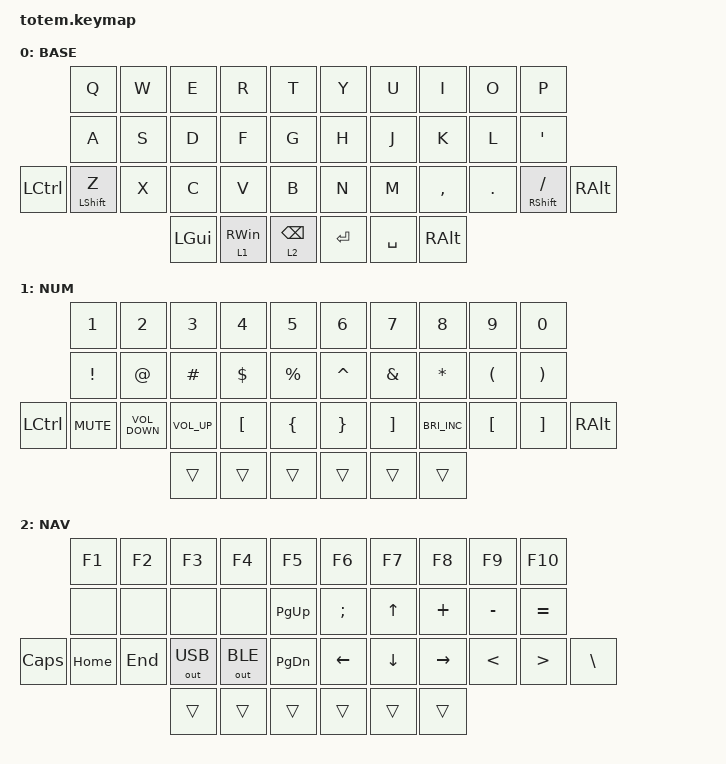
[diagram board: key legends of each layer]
//
//                                                        ▀▀▀▀▀     ▀▀▀▀▀          ▀▀█▀▀
//                                                        ▄▀▀▀▄  ▄  ▄▀▀▀▄  ▄  ▄▀▀▀▄  █  ▄▀▀▀▄
//                                                        █   █  █  █   █  █  █   █  █  █   █
//                                                         ▀▀▀   █   ▀▀▀   █   ▀▀▀   ▀   ▀▀▀
//                                                               █      ▄▄▄█▄▄▄    █   █  
//                                                               ▀      █  █  █     █▄█
//                                                             ▀▀▀▀▀    █  █  █      ▀
//                                                                      ▀  ▀  ▀
//
// ▄▄▄▄▄▄▄▄▄▄▄▄▄▄▄▄▄▄▄▄▄▄▄▄▄▄▄▄▄▄▄▄▄▄▄▄▄▄▄▄▄▄▄▄▄▄▄▄▄▄▄▄▄▄▄▄▄▄▄▄▄▄▄▄▄▄▄▄▄▄▄▄▄▄▄▄▄▄▄▄▄▄▄▄▄▄▄▄▄▄▄▄▄▄▄▄▄▄▄▄▄▄▄▄▄▄▄▄▄▄▄▄▄▄▄▄▄▄▄▄▄▄▄▄▄▄▄▄▄▄▄▄▄▄▄▄▄▄▄▄▄▄▄▄▄▄▄▄▄

#include <behaviors.dtsi>
#include <dt-bindings/zmk/keys.h>
#include <dt-bindings/zmk/outputs.h>

#define BASE 0
#define NAV  1
#define SYM  2
#define ADJ  3
#define TVP1 4
#define TVP2 5

&mt {
    quick-tap-ms = <100>;
    global-quick-tap;
    flavor = "tap-preferred";
    tapping-term-ms = <170>;
};

/ {
    combos {
        compatible = "zmk,combos";

        combo_esc {
            timeout-ms = <50>;
            key-positions = <0 1>;
            bindings = <&kp ESC>;
        };

        combo_tab {
            bindings = <&kp TAB>;
            key-positions = <3 2>;
        };

        combo_delete {
            bindings = <&kp DELETE>;
            key-positions = <9 8>;
        };
    };

    macros {
        gif: gif {
            label = "giphy";
            compatible = "zmk,behavior-macro";
            #binding-cells = <0>;
            bindings =
                <&macro_press>,
                <&kp LSHFT>,
                <&macro_tap>,
                <&kp N2>,
                <&macro_release>,
                <&kp LSHFT>,
                <&macro_tap>,
                <&kp G &kp I &kp F>;
        };
    };

    keymap {
        compatible = "zmk,keymap";

        // ▄▄▄▄▄▄▄▄▄▄▄▄▄▄▄▄▄▄▄▄▄▄▄▄▄▄▄▄▄▄▄▄▄▄▄▄▄▄▄▄▄▄▄▄▄▄▄▄▄▄▄▄▄▄▄▄▄▄▄▄▄▄▄▄▄▄▄▄▄▄▄▄▄▄▄▄▄▄▄▄▄▄▄▄▄▄▄▄▄▄▄▄▄▄▄▄▄▄▄▄▄▄▄▄▄▄▄▄▄▄▄▄▄▄▄▄▄▄▄▄▄▄▄▄▄▄▄▄▄▄▄▄▄▄▄▄▄▄▄▄▄▄▄▄▄▄▄▄▄

        base_layer {
            // ┏━━━━━━━━━━━━━━━━━━━━━━━━━━━━━━━━━━━━━━━┓

            label = "BASE";

            // ┗━━━━━━━━━━━━━━━━━━━━━━━━━━━━━━━━━━━━━━━┛
            //             ┏━━━━━━━━━━━┳━━━━━━━━━━━┳━━━━━━━━━━━┳━━━━━━━━━━━┳━━━━━━━━━━━┓   ┏━━━━━━━━━━━┳━━━━━━━━━━━┳━━━━━━━━━━━┳━━━━━━━━━━━┳━━━━━━━━━━━┓
            //             ┃     Q     ┃     W     ┃     F     ┃     P     ┃     G     ┃   ┃     J     ┃     L     ┃     U     ┃     Y     ┃     ;     ┃
            //             ┣━━━━━━━━━━━╋━━━━━━━━━━━╋━━━━━━━━━━━╋━━━━━━━━━━━╋━━━━━━━━━━━┫   ┣━━━━━━━━━━━╋━━━━━━━━━━━╋━━━━━━━━━━━╋━━━━━━━━━━━╋━━━━━━━━━━━┫
            //             ┃     A     ┃     R     ┃     S     ┃     T     ┃     D     ┃   ┃     H     ┃     N     ┃     E     ┃     I     ┃     O     ┃
            // ┏━━━━━━━━━━━╋━━━━━━━━━━━╋━━━━━━━━━━━╋━━━━━━━━━━━╋━━━━━━━━━━━╋━━━━━━━━━━━┫   ┣━━━━━━━━━━━╋━━━━━━━━━━━╋━━━━━━━━━━━╋━━━━━━━━━━━╋━━━━━━━━━━━╋━━━━━━━━━━━┓
            // ┃     Q     ┃     Z     ┃     X     ┃     C     ┃     V     ┃     B     ┃   ┃     K     ┃     M     ┃     ,     ┃     .     ┃     /     ┃     \     ┃
            // ┗━━━━━━━━━━━┻━━━━━━━━━━━┻━━━━━━━━━━━╋━━━━━━━━━━━╋━━━━━━━━━━━╋━━━━━━━━━━━┫   ┣━━━━━━━━━━━╋━━━━━━━━━━━╋━━━━━━━━━━━╋━━━━━━━━━━━┻━━━━━━━━━━━┻━━━━━━━━━━━┛
            //                                     ┃    DEL    ┃    TAB    ┃    SPC    ┃   ┃   ENTER   ┃           ┃   BSPC    ┃
            //                                     ┗━━━━━━━━━━━┻━━━━━━━━━━━┻━━━━━━━━━━━┛   ┗━━━━━━━━━━━┻━━━━━━━━━━━┻━━━━━━━━━━━┛

            bindings = <
                  &kp Q             &kp W  &kp E         &kp R            &kp T              &kp Y      &kp U      &kp I          &kp O    &kp P
                  &kp A             &kp S  &kp D         &kp F            &kp G              &kp H      &kp J      &kp K          &kp L    &kp APOSTROPHE
&kp LEFT_CONTROL  &mt LEFT_SHIFT Z  &kp X  &kp C         &kp V            &kp B              &kp N      &kp M      &kp COMMA      &kp DOT  &mt RIGHT_SHIFT SLASH  &kp RIGHT_ALT
                                           &kp LEFT_GUI  &lt 1 RIGHT_WIN  &lt 2 BACKSPACE    &kp ENTER  &kp SPACE  &kp RIGHT_ALT
            >;
        };

        // ▄▄▄▄▄▄▄▄▄▄▄▄▄▄▄▄▄▄▄▄▄▄▄▄▄▄▄▄▄▄▄▄▄▄▄▄▄▄▄▄▄▄▄▄▄▄▄▄▄▄▄▄▄▄▄▄▄▄▄▄▄▄▄▄▄▄▄▄▄▄▄▄▄▄▄▄▄▄▄▄▄▄▄▄▄▄▄▄▄▄▄▄▄▄▄▄▄▄▄▄▄▄▄▄▄▄▄▄▄▄▄▄▄▄▄▄▄▄▄▄▄▄▄▄▄▄▄▄▄▄▄▄▄▄▄▄▄▄▄▄▄▄▄▄▄▄▄▄▄

        num_layer {
            // ┏━━━━━━━━━━━━━━━━━━━━━━━━━━━━━━━━━━━━━━━┓

            label = "NUM";

            // ┗━━━━━━━━━━━━━━━━━━━━━━━━━━━━━━━━━━━━━━━┛
            //             ┏━━━━━━━━━━━┳━━━━━━━━━━━┳━━━━━━━━━━━┳━━━━━━━━━━━┳━━━━━━━━━━━┓   ┏━━━━━━━━━━━┳━━━━━━━━━━━┳━━━━━━━━━━━┳━━━━━━━━━━━┳━━━━━━━━━━━┓
            //             ┃           ┃           ┃     UP    ┃           ┃     {     ┃   ┃     }     ┃     7     ┃     8     ┃     9     ┃     +     ┃
            //             ┣━━━━━━━━━━━╋━━━━━━━━━━━╋━━━━━━━━━━━╋━━━━━━━━━━━╋━━━━━━━━━━━┫   ┣━━━━━━━━━━━╋━━━━━━━━━━━╋━━━━━━━━━━━╋━━━━━━━━━━━╋━━━━━━━━━━━┫
            //             ┃   SHIFT   ┃   LEFT    ┃    DOWN   ┃   RIGHT   ┃     [     ┃   ┃     ]     ┃     4     ┃     5     ┃     6     ┃     -     ┃
            // ┏━━━━━━━━━━━╋━━━━━━━━━━━╋━━━━━━━━━━━╋━━━━━━━━━━━╋━━━━━━━━━━━╋━━━━━━━━━━━┫   ┣━━━━━━━━━━━╋━━━━━━━━━━━╋━━━━━━━━━━━╋━━━━━━━━━━━╋━━━━━━━━━━━╋━━━━━━━━━━━┓
            // ┃           ┃           ┃   P UP    ┃  C LOCK   ┃  P DOWN   ┃     (     ┃   ┃     )     ┃     1     ┃     2     ┃     3     ┃     *     ┃           ┃
            // ┗━━━━━━━━━━━┻━━━━━━━━━━━┻━━━━━━━━━━━╋━━━━━━━━━━━╋━━━━━━━━━━━╋━━━━━━━━━━━┫   ┣━━━━━━━━━━━╋━━━━━━━━━━━╋━━━━━━━━━━━╋━━━━━━━━━━━┻━━━━━━━━━━━┻━━━━━━━━━━━┛
            //                                     ┃           ┃    TAB    ┃    SPC    ┃   ┃    DEL    ┃     0     ┃           ┃
            //                                     ┗━━━━━━━━━━━┻━━━━━━━━━━━┻━━━━━━━━━━━┛   ┗━━━━━━━━━━━┻━━━━━━━━━━━┻━━━━━━━━━━━┛

            bindings = <
                  &kp NUMBER_1     &kp NUMBER_2       &kp NUMBER_3     &kp NUMBER_4      &kp N5            &kp NUMBER_6     &kp N7             &kp N8                &kp N9                &kp N0
                  &kp EXCLAMATION  &kp AT_SIGN        &kp HASH         &kp DOLLAR        &kp PERCENT       &kp CARET        &kp AMPERSAND      &kp ASTERISK          &kp LEFT_PARENTHESIS  &kp RIGHT_PARENTHESIS
&kp LEFT_CONTROL  &kp K_MUTE       &kp C_VOLUME_DOWN  &kp C_VOLUME_UP  &kp LEFT_BRACKET  &kp LEFT_BRACE    &kp RIGHT_BRACE  &kp RIGHT_BRACKET  &kp C_BRIGHTNESS_INC  &kp LEFT_BRACKET      &kp RIGHT_BRACKET      &kp RIGHT_ALT
                                                      &trans           &trans            &trans            &trans           &trans             &trans
            >;
        };

        // ▄▄▄▄▄▄▄▄▄▄▄▄▄▄▄▄▄▄▄▄▄▄▄▄▄▄▄▄▄▄▄▄▄▄▄▄▄▄▄▄▄▄▄▄▄▄▄▄▄▄▄▄▄▄▄▄▄▄▄▄▄▄▄▄▄▄▄▄▄▄▄▄▄▄▄▄▄▄▄▄▄▄▄▄▄▄▄▄▄▄▄▄▄▄▄▄▄▄▄▄▄▄▄▄▄▄▄▄▄▄▄▄▄▄▄▄▄▄▄▄▄▄▄▄▄▄▄▄▄▄▄▄▄▄▄▄▄▄▄▄▄▄▄▄▄▄▄▄▄

        nav_layer {
            // ┏━━━━━━━━━━━━━━━━━━━━━━━━━━━━━━━━━━━━━━━┓

            label = "NAV";

            // ┗━━━━━━━━━━━━━━━━━━━━━━━━━━━━━━━━━━━━━━━┛
            //             ┏━━━━━━━━━━━┳━━━━━━━━━━━┳━━━━━━━━━━━┳━━━━━━━━━━━┳━━━━━━━━━━━┓   ┏━━━━━━━━━━━┳━━━━━━━━━━━┳━━━━━━━━━━━┳━━━━━━━━━━━┳━━━━━━━━━━━┓
            //             ┃     !     ┃     @     ┃     #     ┃     $     ┃     %     ┃   ┃     ˆ     ┃     &     ┃     Ü     ┃     '     ┃     "     ┃
            //             ┣━━━━━━━━━━━╋━━━━━━━━━━━╋━━━━━━━━━━━╋━━━━━━━━━━━╋━━━━━━━━━━━┫   ┣━━━━━━━━━━━╋━━━━━━━━━━━╋━━━━━━━━━━━╋━━━━━━━━━━━╋━━━━━━━━━━━┫
            //             ┃     Ä     ┃           ┃    SZ     ┃           ┃           ┃   ┃   MUTE    ┃   YEN     ┃   EURO    ┃  POUND    ┃     Ö     ┃
            // ┏━━━━━━━━━━━╋━━━━━━━━━━━╋━━━━━━━━━━━╋━━━━━━━━━━━╋━━━━━━━━━━━╋━━━━━━━━━━━┫   ┣━━━━━━━━━━━╋━━━━━━━━━━━╋━━━━━━━━━━━╋━━━━━━━━━━━╋━━━━━━━━━━━╋━━━━━━━━━━━┓
            // ┃           ┃  EMAIL1   ┃  EMAIL2   ┃           ┃           ┃           ┃   ┃   VOL-    ┃   VOL+    ┃   LAST    ┃   NEXT    ┃     \     ┃           ┃
            // ┗━━━━━━━━━━━┻━━━━━━━━━━━┻━━━━━━━━━━━╋━━━━━━━━━━━╋━━━━━━━━━━━╋━━━━━━━━━━━┫   ┣━━━━━━━━━━━╋━━━━━━━━━━━╋━━━━━━━━━━━╋━━━━━━━━━━━┻━━━━━━━━━━━┻━━━━━━━━━━━┛
            //                                     ┃           ┃    GIF    ┃    ADJ    ┃   ┃           ┃           ┃           ┃
            //                                     ┗━━━━━━━━━━━┻━━━━━━━━━━━┻━━━━━━━━━━━┛   ┗━━━━━━━━━━━┻━━━━━━━━━━━┻━━━━━━━━━━━┛

            bindings = <
          &kp F1    &kp F2   &kp F3        &kp F4        &kp F5           &kp F6         &kp F7          &kp F8     &kp F9         &kp F10
          &none     &none    &none         &none         &kp PAGE_UP      &kp SEMICOLON  &kp UP_ARROW    &kp PLUS   &kp MINUS      &kp EQUAL
&kp CAPS  &kp HOME  &kp END  &out OUT_USB  &out OUT_BLE  &kp PAGE_DOWN    &kp LEFT       &kp DOWN_ARROW  &kp RIGHT  &kp LESS_THAN  &kp GREATER_THAN  &kp BACKSLASH
                             &trans        &trans        &trans           &trans         &trans          &trans
            >;
        };

        // ▄▄▄▄▄▄▄▄▄▄▄▄▄▄▄▄▄▄▄▄▄▄▄▄▄▄▄▄▄▄▄▄▄▄▄▄▄▄▄▄▄▄▄▄▄▄▄▄▄▄▄▄▄▄▄▄▄▄▄▄▄▄▄▄▄▄▄▄▄▄▄▄▄▄▄▄▄▄▄▄▄▄▄▄▄▄▄▄▄▄▄▄▄▄▄▄▄▄▄▄▄▄▄▄▄▄▄▄▄▄▄▄▄▄▄▄▄▄▄▄▄▄▄▄▄▄▄▄▄▄▄▄▄▄▄▄▄▄▄▄▄▄▄▄▄▄▄▄▄
        // ▄▄▄▄▄▄▄▄▄▄▄▄▄▄▄▄▄▄▄▄▄▄▄▄▄▄▄▄▄▄▄▄▄▄▄▄▄▄▄▄▄▄▄▄▄▄▄▄▄▄▄▄▄▄▄▄▄▄▄▄▄▄▄▄▄▄▄▄▄▄▄▄▄▄▄▄▄▄▄▄▄▄▄▄▄▄▄▄▄▄▄▄▄▄▄▄▄▄▄▄▄▄▄▄▄▄▄▄▄▄▄▄▄▄▄▄▄▄▄▄▄▄▄▄▄▄▄▄▄▄▄▄▄▄▄▄▄▄▄▄▄▄▄▄▄▄▄▄▄
        // ▄▄▄▄▄▄▄▄▄▄▄▄▄▄▄▄▄▄▄▄▄▄▄▄▄▄▄▄▄▄▄▄▄▄▄▄▄▄▄▄▄▄▄▄▄▄▄▄▄▄▄▄▄▄▄▄▄▄▄▄▄▄▄▄▄▄▄▄▄▄▄▄▄▄▄▄▄▄▄▄▄▄▄▄▄▄▄▄▄▄▄▄▄▄▄▄▄▄▄▄▄▄▄▄▄▄▄▄▄▄▄▄▄▄▄▄▄▄▄▄▄▄▄▄▄▄▄▄▄▄▄▄▄▄▄▄▄▄▄▄▄▄▄▄▄▄▄▄▄
    };
};
